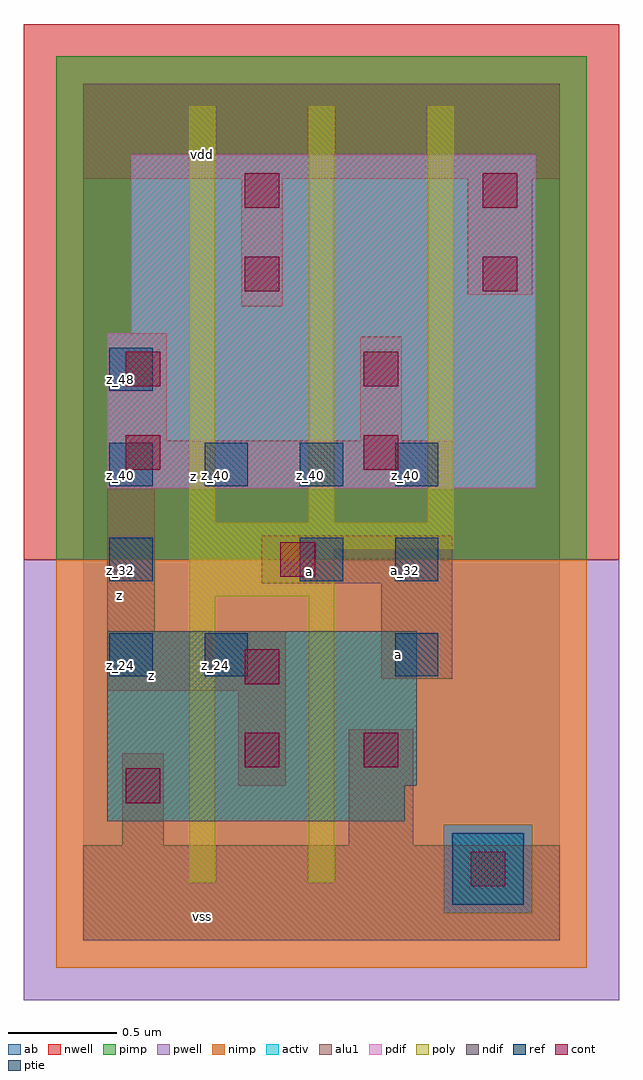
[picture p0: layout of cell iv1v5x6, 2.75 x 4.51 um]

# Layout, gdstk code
import gdstk
lib = gdstk.Library(unit=1e-6, precision=2.5e-09)
def R(c, l, rs):  # rectangles x0, y0, x1, y1
    for r in rs: c.add(gdstk.rectangle(r[:2], r[2:], *l))
def A(c, l, x, y, w, h, nx, ny, dx, dy):  # array of equal rectangles
    R(c, l, [(x+i*dx, y+j*dy, x+i*dx+w, y+j*dy+h) for i in range(nx) for j in range(ny)])
ndif = (3, 0)
pdif = (4, 0)
ptie = (6, 0)
ref = (24, 0)
cont = (25, 0)
pwell = (41, 0)
nwell = (42, 0)
activ = (43, 0)
pimp = (44, 0)
nimp = (45, 0)
poly = (46, 0)
alu1 = (49, 0)
ab = (63, 0)

iv1v5x6 = lib.new_cell('iv1v5x6')
R(iv1v5x6, ndif, [(0.11,0.55,1.485,0.715), (0.11,0.715,1.54,1.43)])
R(iv1v5x6, pdif, [(0.11,2.09,2.09,2.805), (0.22,2.805,2.09,3.63)])
R(iv1v5x6, ptie, [(1.705,0.165,2.035,0.495)])
A(iv1v5x6, ref, 0.12, 2.1, 0.2, 0.2, 4, 1, 0.44, 0)
R(iv1v5x6, ref, [(0.12,1.22,0.32,1.42), (0.56,1.22,0.76,1.42), (1.44,1.22,1.64,1.42), (0.12,1.66,0.32,1.86), (1,1.66,1.2,1.86), (1.44,1.66,1.64,1.86), (0.12,2.54,0.32,2.74)])
R(iv1v5x6, cont, [(1.79,0.25,1.95,0.41), (0.195,0.635,0.355,0.795), (0.745,0.8,0.905,0.96), (1.295,0.8,1.455,0.96), (0.745,1.185,0.905,1.345), (0.91,1.68,1.07,1.84), (0.195,2.175,0.355,2.335), (1.295,2.175,1.455,2.335), (0.195,2.56,0.355,2.72), (1.295,2.56,1.455,2.72), (0.745,3,0.905,3.16), (1.845,3,2.005,3.16), (0.745,3.385,0.905,3.545), (1.845,3.385,2.005,3.545)])
R(iv1v5x6, pwell, [(-0.275,-0.275,2.475,1.76)])
R(iv1v5x6, nwell, [(-0.275,1.76,2.475,4.235)])
R(iv1v5x6, activ, [(1.705,0.165,2.035,0.495), (0.11,0.55,1.485,0.715), (0.11,0.715,1.54,1.43), (0.11,2.09,2.09,2.805), (0.22,2.805,2.09,3.63)])
R(iv1v5x6, pimp, [(1.665,0.125,2.075,0.535), (-0.125,1.76,2.325,4.085)])
R(iv1v5x6, nimp, [(-0.125,-0.125,2.325,0.125), (-0.125,0.125,1.665,0.535), (2.075,0.125,2.325,0.535), (-0.125,0.535,2.325,1.76)])
A(iv1v5x6, poly, 0.49, 1.93, 0.12, 1.925, 3, 1, 0.55, 0)
R(iv1v5x6, poly, [(0.49,0.27,0.61,1.59), (1.04,0.27,1.16,1.59), (0.49,1.59,1.16,1.81), (0.49,1.81,1.71,1.93)])
R(iv1v5x6, alu1, [(0,0,2.2,0.44), (0.18,0.44,0.37,0.865), (1.225,0.44,1.525,0.975), (0.715,0.715,0.935,1.155), (0.11,1.155,0.935,1.43), (1.375,1.21,1.705,1.65), (0.11,1.43,0.33,2.09), (0.825,1.65,1.705,1.87), (0.11,2.09,1.705,2.31), (0.11,2.31,0.385,2.805), (1.28,2.31,1.47,2.79), (0.73,2.93,0.92,3.52), (1.775,2.985,2.075,3.52), (0,3.52,2.2,3.96)])
R(iv1v5x6, ab, [(0,0,2.2,3.96)])
iv1v5x6.add(gdstk.Label('vss', (0.55,0.11), layer=49, texttype=0))
iv1v5x6.add(gdstk.Label('a', (1.4575,1.32), layer=49, texttype=0))
iv1v5x6.add(gdstk.Label('z', (0.315,1.2225), layer=49, texttype=0))
iv1v5x6.add(gdstk.Label('a', (1.045,1.705), layer=49, texttype=0))
iv1v5x6.add(gdstk.Label('z', (0.165,1.595), layer=49, texttype=0))
iv1v5x6.add(gdstk.Label('z', (0.5075,2.145), layer=49, texttype=0))
iv1v5x6.add(gdstk.Label('vdd', (0.55,3.63), layer=49, texttype=0))
iv1v5x6.add(gdstk.Label('z_24', (0.61,1.27), layer=24, texttype=0))
iv1v5x6.add(gdstk.Label('z_40', (0.61,2.15), layer=24, texttype=0))
iv1v5x6.add(gdstk.Label('a_32', (1.05,1.71), layer=24, texttype=0))
iv1v5x6.add(gdstk.Label('z_40', (1.05,2.15), layer=24, texttype=0))
iv1v5x6.add(gdstk.Label('a_24', (1.49,1.27), layer=24, texttype=0))
iv1v5x6.add(gdstk.Label('a_32', (1.49,1.71), layer=24, texttype=0))
iv1v5x6.add(gdstk.Label('z_40', (1.49,2.15), layer=24, texttype=0))
iv1v5x6.add(gdstk.Label('z_24', (0.17,1.27), layer=24, texttype=0))
iv1v5x6.add(gdstk.Label('z_32', (0.17,1.71), layer=24, texttype=0))
iv1v5x6.add(gdstk.Label('z_40', (0.17,2.15), layer=24, texttype=0))
iv1v5x6.add(gdstk.Label('z_48', (0.17,2.59), layer=24, texttype=0))

lib.write_gds('iv1v5x6.gds')
